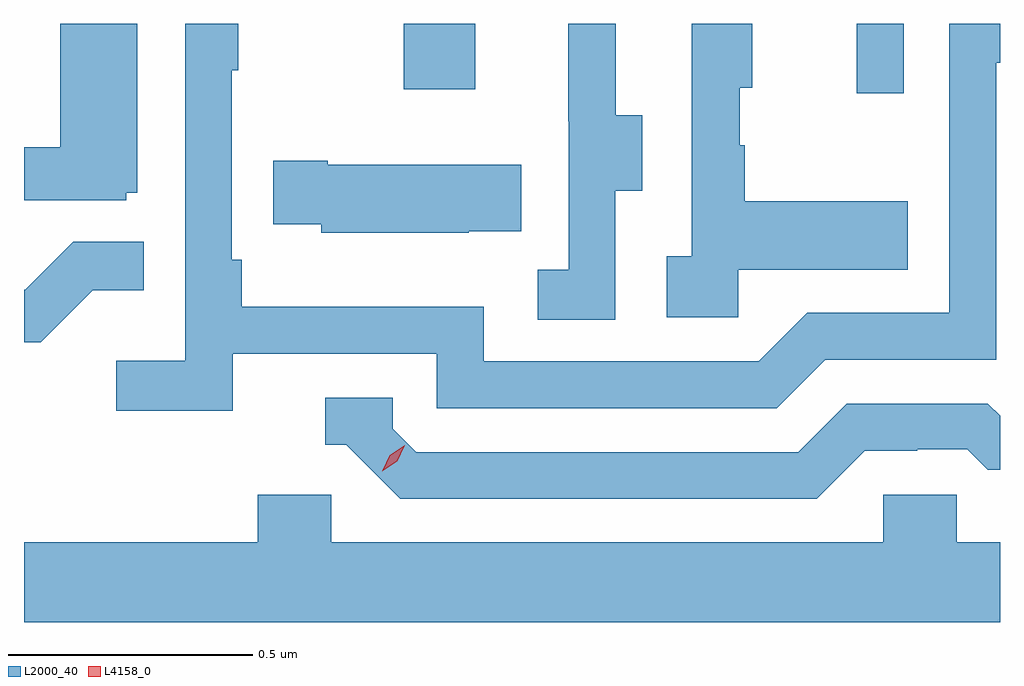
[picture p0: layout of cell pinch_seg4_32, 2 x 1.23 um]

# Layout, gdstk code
import gdstk
lib = gdstk.Library(unit=1e-6, precision=1e-09)
def R(c, l, rs):  # rectangles x0, y0, x1, y1
    for r in rs: c.add(gdstk.rectangle(r[:2], r[2:], *l))
def P(c, l, *ps):  # polygons
    for p in ps: c.add(gdstk.Polygon(p, *l))
L2000_40 = (2000, 40)
L4158_0 = (4158, 0)

pinch_seg4_32 = lib.new_cell('pinch_seg4_32')
R(pinch_seg4_32, L2000_40, [(1130.9,824.544,1130.997,824.687), (1129.972,824.553,1130.119,824.687)])
P(pinch_seg4_32, L2000_40, [(1129.622,824.01),(1130.04,824.01),(1130.04,823.899),(1130.737,823.899),(1130.836,823.998),(1131.186,823.998),(1131.186,824.607),(1131.194,824.607),(1131.194,824.687),(1131.09,824.687),(1131.09,824.094),(1130.799,824.094),(1130.7,823.995),(1130.136,823.995),(1130.136,824.107),(1129.64,824.107),(1129.64,824.203),(1129.62,824.203),(1129.62,824.591),(1129.633,824.591),(1129.633,824.687),(1129.524,824.687),(1129.524,823.996),(1129.383,823.996),(1129.383,823.894),(1129.622,823.894)],
  [(1130.658,824.183),(1131.005,824.183),(1131.005,824.323),(1130.671,824.323),(1130.671,824.438),(1130.661,824.438),(1130.661,824.556),(1130.686,824.556),(1130.686,824.687),(1130.562,824.687),(1130.562,824.21),(1130.511,824.21),(1130.511,824.085),(1130.658,824.085)],
  [(1130.406,824.344),(1130.461,824.344),(1130.461,824.499),(1130.407,824.499),(1130.407,824.687),(1130.309,824.687),(1130.309,824.487),(1130.31,824.487),(1130.31,824.183),(1130.247,824.183),(1130.247,824.08),(1130.406,824.08)],
  [(1129.404,824.34),(1129.426,824.34),(1129.426,824.687),(1129.268,824.687),(1129.268,824.434),(1129.194,824.434),(1129.194,824.325),(1129.404,824.325)],
  [(1130.105,824.261),(1130.213,824.261),(1130.213,824.398),(1129.816,824.398),(1129.816,824.406),(1129.705,824.406),(1129.705,824.276),(1129.803,824.276),(1129.803,824.258),(1130.105,824.258)],
  [(1129.335,824.141),(1129.439,824.141),(1129.439,824.24),(1129.295,824.24),(1129.197,824.142),(1129.194,824.142),(1129.194,824.034),(1129.228,824.034)],
  [(1130.917,823.812),(1131.024,823.812),(1131.024,823.815),(1131.127,823.815),(1131.169,823.773),(1131.194,823.773),(1131.194,823.883),(1131.169,823.908),(1130.88,823.908),(1130.781,823.809),(1129.998,823.809),(1129.95,823.857),(1129.95,823.92),(1129.811,823.92),(1129.811,823.824),(1129.854,823.824),(1129.965,823.713),(1130.818,823.713)],
  [(1131.194,823.624),(1131.105,823.624),(1131.105,823.722),(1130.955,823.722),(1130.955,823.624),(1129.824,823.624),(1129.824,823.722),(1129.673,823.722),(1129.673,823.624),(1129.194,823.624),(1129.194,823.46),(1131.194,823.46)])
P(pinch_seg4_32, L4158_0, [(1129.928,823.77),(1129.928,823.77),(1129.943,823.803),(1129.974,823.823),(1129.974,823.823),(1129.974,823.823),(1129.959,823.79),(1129.928,823.77)])

lib.write_gds('pinch_seg4_32.gds')
